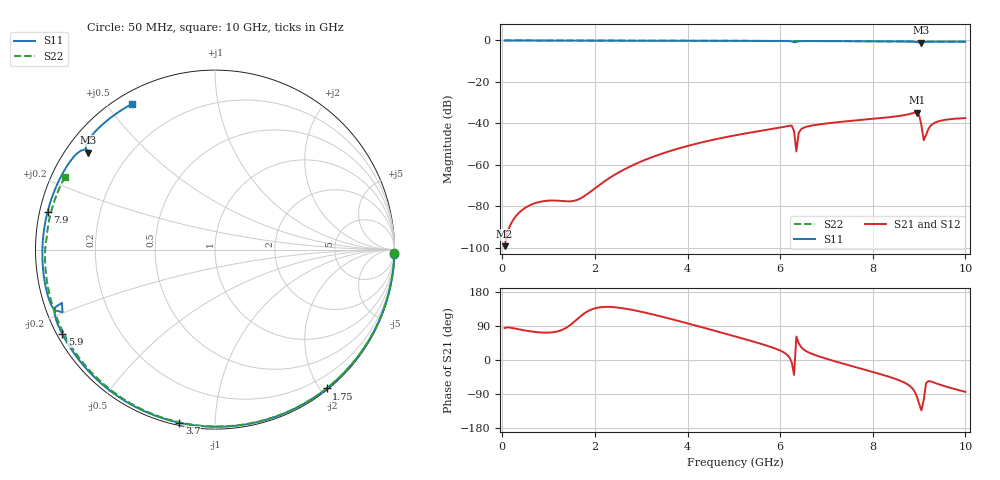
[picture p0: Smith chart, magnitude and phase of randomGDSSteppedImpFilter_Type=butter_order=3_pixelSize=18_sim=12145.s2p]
! freq	dB(S11)	phase(S11)	dB(S12)	phase(S12)
!  dB(S21)	phase(S21)	dB(S22)	phase(S22)
!S-par simulation data
#  GHz  S  DB  R 50
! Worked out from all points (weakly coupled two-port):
!   200 points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, 50 MHz to 10 GHz, reference 50 ohm
!   highest |S21| = -34.87 dB at 8.95 GHz (marker M1); lowest = -99.2 dB at 50 MHz (marker M2)
!   lowest |S11| = -1.0 dB at 9.05 GHz (marker M3), VSWR 17.31, Z = 3.22 + j16.8 ohm
!   |S11| at or under -10 dB: nowhere
!   |S22| runs from -0.6 to 0.0 dB; largest |S21 - S12| = 0
!   S11 on the Smith chart (normalised r, x): 50 MHz: 0, -76; 1.75 GHz: 0.02, -2.09; 3.7 GHz: 0.01, -0.81; 5.9 GHz: 0.02, -0.26; 7.9 GHz: 0.02, +0.11; 10 GHz: 0.05, +0.58
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0.05  -0.00 -1.5  -99.22 84.2  -99.22 84.2  -0.00 -1.1
0.85  -0.03 -25.3  -77.66 72.5  -77.66 72.5  -0.02 -19.3
1.75  -0.06 -51.2  -75.40 121.1  -75.40 121.1  -0.05 -39.2
2.55  -0.09 -72.9  -63.21 137.5  -63.21 137.5  -0.07 -56.5
3.4  -0.12 -94.4  -54.96 115.7  -54.96 115.7  -0.10 -74.1
3.7  -0.13 -101.6  -52.80 106.4  -52.80 106.4  -0.11 -80.2
5.05  -0.19 -132.5  -45.67 61.5  -45.67 61.5  -0.16 -106.7
5.9  -0.25 -151.1  -42.42 30.0  -42.42 30.0  -0.21 -122.8
6.25  -0.46 -160.1  -41.12 -6.2  -41.12 -6.2  -0.24 -129.4
6.3  -0.88 -160.8  -43.67 -39.4  -43.67 -39.4  -0.24 -130.4
6.35  -0.74 -157.7  -53.51 61.9  -53.51 61.9  -0.25 -131.3
6.4  -0.42 -159.1  -44.58 44.7  -44.58 44.7  -0.25 -132.2
6.7  -0.30 -166.9  -40.98 15.6  -40.98 15.6  -0.27 -137.9
7.9  -0.39 167.2  -37.99 -28.1  -37.99 -28.1  -0.38 -160.9
8.35  -0.43 157.2  -37.03 -44.2  -37.03 -44.2  -0.42 -169.9
8.95  -0.78 142.3  -34.87 -95.3  -34.87 -95.3  -0.51 177.6
9  -0.98 141.9  -36.09 -115.0  -36.09 -115.0  -0.53 176.5
9.05  -1.00 142.6  -40.78 -132.9  -40.78 -132.9  -0.54 175.6
9.1  -0.83 142.4  -48.08 -105.5  -48.08 -105.5  -0.54 174.6
9.2  -0.63 139.9  -42.71 -55.6  -42.71 -55.6  -0.54 172.5
9.35  -0.57 135.9  -39.57 -60.8  -39.57 -60.8  -0.55 169.2
10  -0.59 119.7  -37.44 -84.1  -37.44 -84.1  -0.63 154.3
